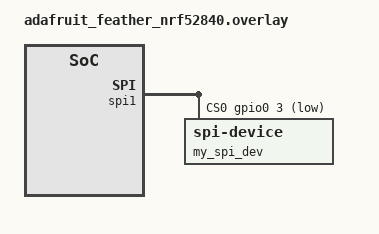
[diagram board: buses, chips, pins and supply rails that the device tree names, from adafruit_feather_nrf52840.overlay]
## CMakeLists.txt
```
# SPDX-License-Identifier: Apache-2.0

cmake_minimum_required(VERSION 3.20.0)
# add smartWatch board dir
list(APPEND BOARD_ROOT ${CMAKE_CURRENT_SOURCE_DIR}/../zephyr/)
find_package(Zephyr REQUIRED HINTS $ENV{ZEPHYR_BASE})
project(smartWatchApp)


target_sources(app PRIVATE
src/main.c
src/adc.c
src/gpio.c
src/mxc400.c
src/pca9957.c
src/pca9957_wrapper.c
)
```

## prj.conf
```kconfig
CONFIG_GPIO=y
CONFIG_ADC=y
CONFIG_I2C=y
CONFIG_SPI=y
CONFIG_LOG=y
CONFIG_PRINTK=y
```

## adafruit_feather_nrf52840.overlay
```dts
my_spi: &spi1 {
    compatible = "nordic,nrf-spi";
    status = "okay";
	pinctrl-0 = <&spi1_default>;
	pinctrl-1 = <&spi1_sleep>;
	cs-gpios = <&gpio0 3 GPIO_ACTIVE_LOW>;

	my_spi_dev: spi-device@0 {
		reg = <0>;
	};
};
```

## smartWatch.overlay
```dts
my_spi: &spi0 {
    compatible = "nordic,nrf-spi";
    status = "okay";
	pinctrl-0 = <&spi0_default>;
	pinctrl-1 = <&spi0_sleep>;
	cs-gpios = <&gpio0 12 GPIO_ACTIVE_LOW>;

	my_spi_dev: spi-device@0 {
		reg = <0>;
	};
};
```

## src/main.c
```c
#include "header.h"

LOG_MODULE_REGISTER(SmartWatchDemo, LOG_LEVEL);

// K_THREAD_DEFINE(thread_photo_id, 4096, thread_photo, NULL, NULL, NULL, 15, 0, 0);

struct k_timer my_timer;

void my_expiry_function(struct k_timer *timer_id)
{
	gpio_pin_toggle_dt(&led);
}

void toggle_led(void)
{
	//k_thread_suspend();
}

void timer_test(void)
{
	extern void my_expiry_function(struct k_timer *timer_id);
	k_timer_init(&my_timer, my_expiry_function, NULL);
	k_timer_start(&my_timer, K_MSEC(500), K_MSEC(500));
}

void main(void)
{
	int ret;
	LOG_DBG("SmartWatch demo project");

	ret = gpio_init();
	if(ret) { return; } // ret != 0
	pca9957_test();
	
	// mxc400_test();
	//timer_test();

	/* thread creation */
	// LSE clock / time handling
	// phototransistor
	// battery sense
	// status led
	// led driver (mutex for spi)
	// accelerometer (mutex for i2c)
	/* ISRs */
	// button 0, 1
	// accel intr



	//struct k_thread_t led_thread;
	//struct k_thread_stack_t led_thread_stack = K_THREAD_STACK_DEFINE("led_thread", 4096);
	//led_tid = k_thread_create(&led_thread, K_THREAD_STACK_DEFINE("led_thread", 4096), 4096, toggle_led, NULL, NULL, NULL, 5, NULL, K_NO_WAIT);

	while(1) {
		k_msleep(100);
	}
}
```

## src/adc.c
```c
#include "header.h"
#include "adc.h"

LOG_MODULE_DECLARE(SmartWatchDemo, LOG_LEVEL);

// adc definitions

const struct device *adc_dev = DEVICE_DT_GET(ADC_NODE);

int16_t adc_buf;

const struct adc_channel_cfg adc_cfg = {
	.gain = ADC_GAIN,
	.reference = ADC_REFERENCE,
	.acquisition_time = ADC_ACQ_TIME_DEFAULT,
	.channel_id = ADC_CHANNEL,
#ifdef CONFIG_ADC_NRFX_SAADC
	.input_positive = ADC_PORT
#endif
};

struct adc_sequence sequence = {
	.channels = BIT(ADC_CHANNEL),
	.buffer = &adc_buf,
	.buffer_size = sizeof(adc_buf),
	.resolution = ADC_RESOLUTION
};

void adc_test(void)
{
	int ret;
	if(!device_is_ready(adc_dev))
	{
		gpio_pin_set_dt(&led, 1);
		return;
	}
	
	ret = adc_channel_setup(adc_dev, &adc_cfg);
	if(ret != 0) {
		LOG_ERR("ADC not ready!\n");
		gpio_pin_set_dt(&led, 1);
		return;
	}

	while (1)
	{
		uint8_t pwm = 0;
		ret = adc_read(adc_dev, &sequence);
		if(ret) {
			LOG_ERR("failed reading ADC!\n");
			gpio_pin_set_dt(&led, 1);
			return;
		}
		// 10bit -> 8bit
		pwm = (adc_buf * 20) / 1023;

		gpio_pin_set_dt(&led, 1);
		k_msleep(pwm);
		gpio_pin_set_dt(&led, 0);
		k_msleep(20 - pwm);
	}
}
```

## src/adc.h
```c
#ifndef ADC_INCLUDED
#define ADC_INCLUDED

#include "header.h"
#include <zephyr/drivers/adc.h>

#define ADC_NODE		DT_NODELABEL(adc)

#define ADC_RESOLUTION	10
#define ADC_CHANNEL		0
#define ADC_PORT		SAADC_CH_PSELP_PSELP_AnalogInput6
#define ADC_REFERENCE	ADC_REF_INTERNAL
#define ADC_GAIN		ADC_GAIN_1_5

extern const struct device *adc_dev;

# endif // ADC_INCLUDED
```

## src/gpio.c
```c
#include "header.h"
#include "gpio.h"

const struct gpio_dt_spec led = GPIO_DT_SPEC_GET(LED0_NODE, gpios);
const struct gpio_dt_spec button0 = GPIO_DT_SPEC_GET(BTN0_NODE, gpios);
const struct gpio_dt_spec button1 = GPIO_DT_SPEC_GET(BTN1_NODE, gpios);

void thread_photo(void)
{
	while (1) {
		gpio_pin_toggle_dt(&led);
		k_msleep(500);
	}
}

uint8_t gpio_init(void)
{
    int ret = 0;
    if (!device_is_ready(led.port) ||
		!device_is_ready(button0.port) ||
		!device_is_ready(button1.port)) {
		return -1;
	}
	
	// configure led as output
	ret |= gpio_pin_configure_dt(&led, GPIO_OUTPUT_INACTIVE);

	// configure btn0 as input
	ret |= gpio_pin_configure_dt(&button0, GPIO_INPUT);
	
	// configure btn1 as input
	ret |= gpio_pin_configure_dt(&button1, GPIO_INPUT);

    return ret;
}
```

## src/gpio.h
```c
#ifndef GPIO_INCLUDED
#define GPIO_INCLUDED

#include "header.h"
#include <zephyr/drivers/gpio.h>

#define LED0_NODE		DT_NODELABEL(led0)
#define BTN0_NODE		DT_NODELABEL(btn0)
#define BTN1_NODE		DT_NODELABEL(btn1)
#define GYRO_INT_NODE	DT_NODELABEL(gyroint)

extern const struct gpio_dt_spec led;
extern const struct gpio_dt_spec button0;
extern const struct gpio_dt_spec button1;

uint8_t gpio_init(void);
void thread_photo(void);

#endif // GPIO_INCLUDED
```

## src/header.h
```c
/*
 * Copyright (c) 2016 Intel Corporation
 *
 * SPDX-License-Identifier: Apache-2.0
 */

#ifndef HEADER_INCLUDED
#define HEADER_INCLUDED


#include <inttypes.h>
#include <stddef.h>
#include <stdint.h>

#include <zephyr/kernel.h>
#include <zephyr/device.h>
#include <zephyr/sys_clock.h>
#include <zephyr/devicetree.h>
#include <zephyr/sys/printk.h>
#include <zephyr/logging/log.h>

#include "adc.h"
#include "gpio.h"
#include "mxc400.h"
#include "pca9957.h"
#include "pca9957_wrapper.h"

#define LOG_LEVEL	            LOG_LEVEL_DBG

#define ERR_DEVICE_NOT_READY      BIT(1)

#endif // HEADER_INCLUDED
```

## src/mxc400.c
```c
#include "header.h"
#include "mxc400.h"

LOG_MODULE_DECLARE(SmartWatchDemo, LOG_LEVEL);

const struct device *i2c_dev = DEVICE_DT_GET(I2C_NODE);
const struct gpio_dt_spec mxc400_int = GPIO_DT_SPEC_GET(GYRO_INT_NODE, gpios);

int mxc400_init(void)
{
	int ret;
	if (!device_is_ready(mxc400_int.port)) {
		gpio_pin_set_dt(&led, 1);
		return -1;
	}
	// configure mxc400_int as input
	ret = gpio_pin_configure_dt(&mxc400_int, GPIO_INPUT);
	if (ret < 0)
	{
		gpio_pin_set_dt(&led, 1);
	}
	return ret;
}

void mxc400_test(void)
{
	LOG_DBG("i2c started");
	int ret;
	uint8_t buf[2];

	if(0 != mxc400_init())
	{
		return;
	}

	if (!device_is_ready(i2c_dev))
	{
		LOG_ERR("I2C not ready!\n");
		gpio_pin_set_dt(&led, 1);
		return;
	}

	// interface with register 0x0A
	buf[0] = 0x0A;
	// set SHXPE (shake x+ enable) bit
	buf[1] = 0x0F;
	ret = i2c_write(i2c_dev, buf, 2, MXC400_ADDRESS);
	if(ret != 0)
	{
		LOG_ERR("Error writing to I2C device\n");
		gpio_pin_set_dt(&led, 1);
		return;
	}

	while(1)
	{
		if(gpio_pin_get_dt(&mxc400_int) == 1)
		{
			gpio_pin_toggle_dt(&led);

			// interrupt pin state reflects
			// state of INT bit in STATUS reg
			// clear by setting INT_CLRx
			
			// interface with register 0x00
			buf[0] = 0x00;
			// set SHXP (shake x+ enable) bit
			buf[1] = 0x0F;
			ret = i2c_write(i2c_dev, buf, 2, MXC400_ADDRESS);
			if(ret != 0)
			{
				LOG_ERR("Error clearing I2C interrupt\n");
				gpio_pin_set_dt(&led, 1);
				return;
			}
			LOG_DBG("shake detected");
		}
		k_msleep(100);
	}

}

/*
reading device ID:

buf = 0x0E;
	ret = i2c_write(i2c_dev, &buf, 1, I2C_ADDRESS);
	if(ret != 0)
	{
		LOG_ERR("Error writing to I2C device\n");
		gpio_pin_set_dt(&led, 1);
		return;
	}

	ret = i2c_read(i2c_dev, &buf, 1, I2C_ADDRESS);
	if(ret != 0)
	{
		LOG_ERR("Error reading from I2C device\n");
		gpio_pin_set_dt(&led, 1);
		return;
	}

	if(buf != 0x02)
	{
		gpio_pin_set_dt(&led, 1);
		return;
	}

*/
```

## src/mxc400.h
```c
#ifndef MX400_INCLUDED
#define MX400_INCLUDED

#include "header.h"
#include <zephyr/drivers/i2c.h>
#include <zephyr/drivers/gpio.h>

#define I2C_NODE            DT_NODELABEL(i2c0)
#define MXC400_ADDRESS      0x15

// register definition

#define MXC400_INT_SRC0         0x00
#define MXC400_INT_SRC1         0x01
#define MXC400_STATUS           0x02
#define MXC400_XOUT_UPPER       0x03
#define MXC400_XOUT_LOWER       0x04
#define MXC400_YOUT_UPPER       0x05
#define MXC400_YOUT_LOWER       0x06
#define MXC400_ZOUT_UPPER       0x07
#define MXC400_ZOUT_LOWER       0x08
#define MXC400_TOUT             0x09
#define MXC400_INT_MASK0        0x0A
#define MXC400_INT_MASK1        0x0B
#define MXC400_DETECTION        0x0C
#define MXC400_CONTROL          0x0D
#define MXC400_DEVICE_ID        0x0E
#define MXC400_WHO_AM_I         0x0F

// bit definition

// register INT SRC0 bit definitions
#define MXC400_INT_SRC0_SHXP    BIT(0)
#define MXC400_INT_SRC0_SHXM    BIT(1)
#define MXC400_INT_SRC0_SHYP    BIT(2)
#define MXC400_INT_SRC0_SHYM    BIT(3)
#define MXC400_INT_SRC0_CHORXY  BIT(6)
#define MXC400_INT_SRC0_CHORZ   BIT(7)

// register INT SRC1 bit definitions
#define MXC400_INT_SRC1_DRDY    BIT(0)
#define MXC400_INT_SRC1_ORXY0   BIT(4)
#define MXC400_INT_SRC1_ORXY1   BIT(5)
#define MXC400_INT_SRC1_ORZ     BIT(6)
#define MXC400_INT_SRC1_TILT    BIT(7)

#define MXC400_INT_SRC1_SW_RST  BIT(4)

// register STATUS bit definitions
#define MXC400_STATUS_ORIXY0    BIT(0)
#define MXC400_STATUS_ORIXY1    BIT(1)
#define MXC400_STATUS_ORIZ0     BIT(2)
#define MXC400_STATUS_ORIZ1     BIT(3)
#define MXC400_STATUS_ORD       BIT(4)

// register XOUT_UPPER bit definitions
#define MXC400_XOUT_UPPER_11_4

// register XOUT_LOWER bit definitions
#define MXC400_XOUT_LOWER_11_4

// register YOUT_UPPER bit definitions
#define MXC400_YOUT_UPPER_11_4

// register YOUT_LOWER bit definitions
#define MXC400_YOUT_LOWER_11_4

// register ZOUT_UPPER bit definitions
#define MXC400_ZOUT_UPPER_11_4

// register ZOUT_LOWER bit definitions
#define MXC400_ZOUT_LOWER_11_4

// register TOUT bit definitions
// register INT_MASK0 bit definitions
// register INT_MASK1 bit definitions
// register DETECTION bit definitions
// register CONTROL bit definitions

// interrupt flags

#define MXC400_INTFLAG_SHXP     (1 << 0)
#define MXC400_INTFLAG_SHXM     (1 << 1)
#define MXC400_INTFLAG_SHYP     (1 << 2)
#define MXC400_INTFLAG_SHYM     (1 << 3)
#define MXC400_INTFLAG_CHORXY   (1 << 6)
#define MXC400_INTFLAG_CHORZ    (1 << 7)
#define MXC400_INTFLAG_DRDY     (1 << 8)

extern const struct gpio_dt_spec mxc400_int;
extern const struct device *i2c_dev;

void mxc400_test(void);

#endif // MX400_INCLUDED
```

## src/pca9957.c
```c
#include "header.h"

LOG_MODULE_DECLARE(SmartWatchDemo, LOG_LEVEL);

const struct device *pca9957_dev = DEVICE_DT_GET(SPI_NODE);

/**
 * @brief initializes PCA9957 spi led driver.
 * 	sets all led channels to inactive
 * 
 * @retval 0 If successful.
 * @retval -errno Negative errno code on failure.
 */
int pca9957_init() {
	int ret = 0;
	if(!device_is_ready(pca9957_dev)) {
		return ERR_DEVICE_NOT_READY;
	}
	// set current, pwm, led-mode
	ret |= pca9957_set_led_mode(PCA9957_LEDS_MSK, PCA9957_LEDMODE_OFF);
	ret |= pca9957_set_led_current(PCA9957_LEDS_MSK, 0x01);
	ret |= pca9957_set_led_pwm(PCA9957_LEDS_MSK, 0x05);
	return ret;
}

int pca9957_test(void)
{
	int m, h, ret;

	ret = pca9957_init();

	m = 12;
	h = 0;
	while(!ret) {
		ret |= pca9957_set_led_mode(PCA9957_LEDS_MSK, PCA9957_LEDMODE_OFF);

		ret |= pca9957_set_led_pwm(HOUR(h) | MINUTE(m), 0x50);
		ret |= pca9957_set_led_pwm(HOUR(h-1) | HOUR(h+1) | MINUTE(m-1) | MINUTE(m+1), 0x02);
		ret |= pca9957_set_led_mode(HOUR(h) | MINUTE(m), PCA9957_LEDMODE_PWM);
		ret |= pca9957_set_led_mode(HOUR(h-1) | HOUR(h+1) | MINUTE(m-1) | MINUTE(m+1), PCA9957_LEDMODE_PWM);
		h++;
		m--;
		if(h == PCA9957_NUM_LEDS/2) {
			m = 12;
			h = 0;
		}
		k_msleep(100);
	}

	return ret;
}
```

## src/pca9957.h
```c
#ifndef PCA9957_INCLUDED
#define PCA9957_INCLUDED

#include "header.h"
#include <zephyr/drivers/spi.h>

#define SPI_NODE        DT_NODELABEL(spi0)

extern const struct device *pca9957_dev;

// hardware defined offset
// (0 o'clock leds not routed to LED(0) & LED(1))
#define HOUR(n)         PCA9957_LED(2*(n + 10))
#define MINUTE(n)       PCA9957_LED((2*(n + 10) + 1))

int pca9957_test(void);
int pca9957_init(void);

#endif // PCA9957_INCLUDED
```

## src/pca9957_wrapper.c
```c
#include "pca9957.h"

LOG_MODULE_DECLARE(SmartWatchDemo, LOG_LEVEL);

// SPI struct definitions

static uint8_t my_spi_buf[2];

static struct spi_config config = {
	.frequency = 1000000,
	.operation = SPI_OP_MODE_MASTER | SPI_TRANSFER_MSB | SPI_WORD_SET(8),
	.cs = SPI_CS_CONTROL_PTR_DT(DT_NODELABEL(pca9957), 0),
};

static struct spi_buf spi_buffer = {
	.buf = my_spi_buf,
	.len = 2 * sizeof(my_spi_buf[0])
};
static struct spi_buf_set spi_buffers = {
	.buffers = &spi_buffer,
	.count = 1
};

static uint8_t led_mode[PCA9957_NUM_LEDOUT_REGS] = {0};
static uint8_t led_pwm[PCA9957_NUM_LEDS] = {0};

/**
 * @brief set pca9957 low-power mode
 * 
 * @note make sure group dimming/blinking is disabled before entering
 * low-power mode, otherwise the state of the led channels after exiting
 * low-power mode again will result in an undefined behaviour.
 * 
 * @param low_power either PCA9957_LOW_POWER_EN or PCA9957_LOW_POWER_DIS
 * 
 * @retval 0 If successful.
 * @retval -errno Negative errno code on failure.
 */
int pca9957_set_power_mode(uint8_t low_power) {
	return pca9957_write(PCA9957_MODE1, low_power << PCA9957_MODE1_SLEEP);
}

/**
 * @brief get pca9957s current low-power mode
 * 
 * @param low_power either PCA9957_LOW_POWER_EN or PCA9957_LOW_POWER_DIS
 * 
 * @retval 0 If successful.
 * @retval -errno Negative errno code on failure.
 */
int pca9957_get_power_mode(uint8_t *low_power) {
	int ret = pca9957_read(PCA9957_MODE1, low_power);
	*low_power = *low_power >> PCA9957_MODE1_SLEEP;
	return ret;
}

/**
 * @brief get the content of pca9957 mode2 register
 * 
 * @param status buffer where mode2 register content will be written to
 * 
 * @retval 0 If successful.
 * @retval -errno Negative errno code on failure.
 */
int pca9957_get_status(uint8_t *status) {
	return pca9957_read(PCA9957_MODE2, status);
}

/**
 * @brief pca9957 error checker
 * 
 * @param status buffer to write error register content to
 * 
 * @retval 0 If successful.
 * @retval -errno Negative errno code on failure.
 */
int pca9957_check_error(uint8_t *error) {
	int ret;
	ret = pca9957_get_status(error);
	*error = *error & (PCA9957_MODE2_OVERTEMP & PCA9957_MODE2_ERROR);
	return ret;
}

/**
 * @brief sets output mode for the chosen led channels
 *
 * @param leds selected LEDs; use PCA9957_LED(n) to choose a selection
 * or PCA9957_LEDS_MSK to select all channels
 * @param mode one of the following: 
 * PCA9957_LEDMODE_OFF: turn led(s) off
 * PCA9957_LEDMODE_ON: turn led(s) fully on
 * PCA9957_LEDMODE_PWM: enable PWM mode
 * PCA9957_LEDMODE_GROUP: enable group dimming/blinking
 * 
 * @retval 0 If successful.
 * @retval -errno Negative errno code on failure.
 * 
 * @note when selecting either PCA9957_LEDMODE_PWM or PCA9957_LEDMODE_GROUP make
 * sure pca9957_set_led_pwm or pca9957_set_group_mode is configured in advance
 */
int pca9957_set_led_mode(uint32_t leds, uint8_t mode) {
	int i, ret = 0;
	volatile uint8_t mask, new_mode = 0x00;
	i = 0;
	while(i < PCA9957_NUM_LEDS && !ret) {
		if(leds & PCA9957_LED(i))
		{
			// change led i mode
			new_mode |= mode << PCA9957_LEDMODE_POS(i);
		}
		else
		{
			// keep previous mode for led i
			mask = PCA9957_LEDMODE_MSK << PCA9957_LEDMODE_POS(i);
			new_mode |= (led_mode[PCA9957_LEDOUT_REG(i)] & mask);
		}
		if(PCA9957_LEDMODE_POS((i+1)) == 0 && i > 0)
		{
			// write new_mode to pca9957
			ret = pca9957_write(PCA9957_LEDOUT(PCA9957_LEDOUT_REG(i)), new_mode);
			led_mode[PCA9957_LEDOUT_REG(i)] = new_mode;
			new_mode = 0x00;
		}
		i++;
	}
	return ret;
}

/**
 * @brief sets the pwm duty cycle for the chosen led channels
 *
 * @param leds selected LEDs; use PCA9957_LED(n) to choose a selection
 * or PCA9957_LEDS_MSK to select all channels
 * @param pwm 8-bit pwm duty cycle (0x00 - 0xFF)
 * 
 * @retval 0 If successful.
 * @retval -errno Negative errno code on failure.
 */
int pca9957_set_led_pwm(uint32_t leds, uint8_t pwm) {
	int i, ret = 0;
	if(leds == PCA9957_LEDS_MSK) {
	return pca9957_write(PCA9957_PWMALL, pwm);
	}
	i = 0;
	while(i < PCA9957_NUM_LEDS && !ret) {
		if(leds & PCA9957_LED(i)) {
			if(led_pwm[i] != pwm) {
				ret |= pca9957_write(PCA9957_PWM(i), pwm);
				led_pwm[i] = pwm;
			}
		}
		i++;
	}
	return ret;
}

/**
 * @brief sets the max output current for each led channels
 *
 * @param leds selected LEDs; use PCA9957_LED(n) to choose a selection
 * or PCA9957_LEDS_MSK to select all channels
 * @param pwm 8-bit current setting (0x00 - 0xFF)
 * 
 * @retval 0 If successful.
 * @retval -errno Negative errno code on failure.
 */
int pca9957_set_led_current(uint32_t leds, uint8_t current) {
	int i, ret = 0;
	if(leds == PCA9957_LEDS_MSK) {
	return pca9957_write(PCA9957_IREFALL, current);
	}
	i = 0;
	while(i < PCA9957_NUM_LEDS && !ret) {
		if(leds & PCA9957_LED(i)) {
			ret |= pca9957_write(PCA9957_IREF(i), current);
		}
		i++;
	}
	return ret;
}

/**
 * @brief writes one byte to the specified register
 * 
 * @param reg 7-bit register address to be written to
 * @param tx_buf buffer where data to be written is stored
 *
 * @retval 0 If successful.
 * @retval -errno Negative errno code on failure.
 */
int pca9957_write(uint8_t reg, uint8_t tx_buf) {
	// ********** SPI WRITING **********
	// send first 7 bit with register address MSB
	// LSB reset to write from device
	my_spi_buf[0] = (reg << 1) & 0xFE;
	my_spi_buf[1] = tx_buf;

	return spi_write(pca9957_dev, &config, &spi_buffers);
}

/**
 * @brief Read one byte from the specified register
 *
 * @param addr 7-bit register address to be read from
 * @param rx_buf buffer where data to be read will be written to
 *
 * @retval 0 If successful.
 * @retval -errno Negative errno code on failure.
 */
int pca9957_read(uint8_t reg, uint8_t *rx_buf) {
	// ********** SPI READING **********
	// send first 7 bit with register address MSB
	// LSB set to read from device
	//reg_addr = 0x08;
	int ret;
	my_spi_buf[0] = (reg << 1) | 0x01;
	my_spi_buf[1] = 0xFF;

	ret = spi_write(pca9957_dev, &config, &spi_buffers);

	ret |= spi_read(pca9957_dev, &config, &spi_buffers);
	*rx_buf = my_spi_buf[1];
    return ret;
}
```

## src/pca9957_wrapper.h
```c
#include "pca9957.h"

#ifndef PCA9957_WRAPPER_INCLUDED
#define PCA9957_WRAPPER_INCLUDED

// register definition

#define PCA9957_MODE_BASE           0x00
#define PCA9957_EFLAG_BASE          0x02
#define PCA9957_LEDOUT_BASE         0x08
#define PCA9957_PWM_BASE            0x10
#define PCA9957_IREF_BASE           0x28


// MODE1 register
#define PCA9957_MODE1               PCA9957_MODE_BASE
// MODE1 bit definitios
#define PCA9957_MODE1_SLEEP         BIT(4)
#define PCA9957_LOW_POWER_EN        0x01
#define PCA9957_LOW_POWER_DIS       0x00


// MODE2 register
#define PCA9957_MODE2               PCA9957_MODE_BASE + 0x01
// MODE2 bit definitions
#define PCA9957_MODE2_OVERTEMP              BIT(7)
#define PCA9957_MODE2_ERROR                 BIT(6)
#define PCA9957_MODE2_DMBLK                 BIT(5)
#define PCA9957 MODE2_CLRERR                BIT(4)
#define PCA9957_MODE2_AUTO_SWITCHOFF_DIS    BIT(3)
#define PCA9957_MODE2_EXP_EN                BIT(2)


#define PCA9957_EFLAG0              PCA9957_EFLAG_BASE
#define PCA9957_EFLAG1              PCA9957_EFLAG_BASE + 0x01
#define PCA9957_EFLAG2              PCA9957_EFLAG_BASE + 0x02
#define PCA9957_EFLAG3              PCA9957_EFLAG_BASE + 0x03
#define PCA9957_EFLAG4              PCA9957_EFLAG_BASE + 0x04
#define PCA9957_EFLAG5              PCA9957_EFLAG_BASE + 0x05
#define PCA9957_EFLAG(n)            PCA9957_EFLAG_BASE + (n % 0x06)


// LEDOUT registers
#define PCA9957_LEDOUT0             PCA9957_LEDOUT_BASE
#define PCA9957_LEDOUT1             PCA9957_LEDOUT_BASE + 0x01
#define PCA9957_LEDOUT2             PCA9957_LEDOUT_BASE + 0x02
#define PCA9957_LEDOUT3             PCA9957_LEDOUT_BASE + 0x03
#define PCA9957_LEDOUT4             PCA9957_LEDOUT_BASE + 0x04
#define PCA9957_LEDOUT5             PCA9957_LEDOUT_BASE + 0x05
#define PCA9957_LEDOUT(n)           PCA9957_LEDOUT_BASE + (n % 0x06)
// LEDOUT bit definitions
#define PCA9957_LEDMODE_OFF         0x00
#define PCA9957_LEDMODE_ON          0x01
#define PCA9957_LEDMODE_PWM         0x02
#define PCA9957_LEDMODE_GROUP       0x03
// wrapper definitions
#define PCA9957_NUM_LEDOUT_REGS     6
#define PCA9957_LEDOUT_REGSIZE      8
#define PCA9957_LEDOUT_REG(n)       (int)(PCA9957_LEDMODE_SIZE * n / PCA9957_LEDOUT_REGSIZE)
#define PCA9957_LEDMODE_SIZE        2
#define PCA9957_LEDMODE_POS(n)      (PCA9957_LEDMODE_SIZE * n) % PCA9957_LEDOUT_REGSIZE
#define PCA9957_LEDMODE_MSK         0x03

#define PCA9957_NUM_LEDS            24
#define PCA9957_LED(n)              BIT((n % PCA9957_NUM_LEDS))
#define PCA9957_LEDS_MSK            0xFFFFFF


#define PCA9957_PWM0                PCA9957_PWM_BASE
#define PCA9957_PWM1                PCA9957_PWM_BASE + 0x01
#define PCA9957_PWM2                PCA9957_PWM_BASE + 0x02
#define PCA9957_PWM3                PCA9957_PWM_BASE + 0x03
#define PCA9957_PWM4                PCA9957_PWM_BASE + 0x04
#define PCA9957_PWM5                PCA9957_PWM_BASE + 0x05
#define PCA9957_PWM6                PCA9957_PWM_BASE + 0x06
#define PCA9957_PWM7                PCA9957_PWM_BASE + 0x07
#define PCA9957_PWM8                PCA9957_PWM_BASE + 0x08
#define PCA9957_PWM9                PCA9957_PWM_BASE + 0x09
#define PCA9957_PWM10               PCA9957_PWM_BASE + 0x0A
#define PCA9957_PWM11               PCA9957_PWM_BASE + 0x0B
#define PCA9957_PWM12               PCA9957_PWM_BASE + 0x0C
#define PCA9957_PWM13               PCA9957_PWM_BASE + 0x0D
#define PCA9957_PWM14               PCA9957_PWM_BASE + 0x0E
#define PCA9957_PWM15               PCA9957_PWM_BASE + 0x0F
#define PCA9957_PWM16               PCA9957_PWM_BASE + 0x10
#define PCA9957_PWM17               PCA9957_PWM_BASE + 0x11
#define PCA9957_PWM18               PCA9957_PWM_BASE + 0x12
#define PCA9957_PWM19               PCA9957_PWM_BASE + 0x13
#define PCA9957_PWM20               PCA9957_PWM_BASE + 0x14
#define PCA9957_PWM21               PCA9957_PWM_BASE + 0x15
#define PCA9957_PWM22               PCA9957_PWM_BASE + 0x16
#define PCA9957_PWM23               PCA9957_PWM_BASE + 0x17
#define PCA9957_PWM(n)              PCA9957_PWM_BASE + (n % 0x18)


#define PCA9957_IREF0               PCA9957_IREF_BASE
#define PCA9957_IREF1               PCA9957_IREF_BASE + 0x01
#define PCA9957_IREF2               PCA9957_IREF_BASE + 0x02
#define PCA9957_IREF3               PCA9957_IREF_BASE + 0x03
#define PCA9957_IREF4               PCA9957_IREF_BASE + 0x04
#define PCA9957_IREF5               PCA9957_IREF_BASE + 0x05
#define PCA9957_IREF6               PCA9957_IREF_BASE + 0x06
#define PCA9957_IREF7               PCA9957_IREF_BASE + 0x07
#define PCA9957_IREF8               PCA9957_IREF_BASE + 0x08
#define PCA9957_IREF9               PCA9957_IREF_BASE + 0x09
#define PCA9957_IREF10              PCA9957_IREF_BASE + 0x0A
#define PCA9957_IREF11              PCA9957_IREF_BASE + 0x0B
#define PCA9957_IREF12              PCA9957_IREF_BASE + 0x0C
#define PCA9957_IREF13              PCA9957_IREF_BASE + 0x0D
#define PCA9957_IREF14              PCA9957_IREF_BASE + 0x0E
#define PCA9957_IREF15              PCA9957_IREF_BASE + 0x0F
#define PCA9957_IREF16              PCA9957_IREF_BASE + 0x10
#define PCA9957_IREF17              PCA9957_IREF_BASE + 0x11
#define PCA9957_IREF18              PCA9957_IREF_BASE + 0x12
#define PCA9957_IREF19              PCA9957_IREF_BASE + 0x13
#define PCA9957_IREF20              PCA9957_IREF_BASE + 0x14
#define PCA9957_IREF21              PCA9957_IREF_BASE + 0x15
#define PCA9957_IREF22              PCA9957_IREF_BASE + 0x16
#define PCA9957_IREF23              PCA9957_IREF_BASE + 0x17
#define PCA9957_IREF(n)             PCA9957_IREF_BASE + (n % 0x18)


#define PCA9957_RAMP_RATE_GRP0      0x40
#define PCA9957_STEP_TIME_GRP0      0x41
#define PCA9957_HOLD_CNTL_GRP0      0x42
#define PCA9957_IREF_GRP0           0x43

#define PCA9957_RAMP_RATE_GRP1      0x44
#define PCA9957_STEP_TIME_GRP1      0x45
#define PCA9957_HOLD_CNTL_GRP1      0x46
#define PCA9957_IREF_GRP1           0x47

#define PCA9957_RAMP_RATE_GRP2      0x48
#define PCA9957_STEP_TIME_GRP2      0x49
#define PCA9957_HOLD_CNTL_GRP2      0x4A
#define PCA9957_IREF_GRP2           0x4B

#define PCA9957_RAMP_RATE_GRP3      0x4C
#define PCA9957_STEP_TIME_GRP3      0x4D
#define PCA9957_HOLD_CNTL_GRP3      0x4E
#define PCA9957_IREF_GRP3           0x4F

#define PCA9957_RAMP_RATE_GRP4      0x50
#define PCA9957_STEP_TIME_GRP4      0x51
#define PCA9957_HOLD_CNTL_GRP4      0x52
#define PCA9957_IREF_GRP4           0x53

#define PCA9957_RAMP_RATE_GRP5      0x54
#define PCA9957_STEP_TIME_GRP5      0x55
#define PCA9957_HOLD_CNTL_GRP5      0x56
#define PCA9957_IREF_GRP5           0x57


#define PCA9957_GRAD_MODE_SEL0      0x58
#define PCA9957_GRAD_MODE_SEL1      0x59
#define PCA9957_GRAD_MODE_SEL2      0x5A

#define PCA9957_GRAD_GRP_SEL0       0x5B
#define PCA9957_GRAD_GRP_SEL1       0x5B
#define PCA9957_GRAD_GRP_SEL2       0x5B
#define PCA9957_GRAD_GRP_SEL3       0x5B
#define PCA9957_GRAD_GRP_SEL4       0x5B
#define PCA9957_GRAD_GRP_SEL5       0x60
#define PCA9957_GRAD_GRP_SEL6       0x61
#define PCA9957_GRAD_GRP_SEL7       0x62
#define PCA9957_GRAD_GRP_SEL8       0x63
#define PCA9957_GRAD_GRP_SEL9       0x64
#define PCA9957_GRAD_GRP_SEL10      0x65
#define PCA9957_GRAD_GRP_SEL11      0x66

#define PCA9957_GRAD_CNTL0          0x67
#define PCA9957_GRAD_CNTL1          0x68


#define PCA9957_OFFSET              0x69
#define PCA9957_PWMALL              0x6A
#define PCA9957_IREFALL             0x6B


// ERROR definitions
#define ERR_PCA9957COMMON           BIT(1)

// Prototype definitions

int pca9957_set_power_mode(uint8_t low_power);
int pca9957_get_power_mode(uint8_t *low_power);
int pca9957_get_status(uint8_t *status);
int pca9957_check_error(uint8_t *error);
int pca9957_set_led_mode(uint32_t leds, uint8_t mode);
int pca9957_set_led_pwm(uint32_t leds, uint8_t pwm);
int pca9957_set_led_current(uint32_t leds, uint8_t current);

int pca9957_write(uint8_t reg, uint8_t tx_buf);
int pca9957_read(uint8_t reg, uint8_t *rx_buf);

#endif// PCA9957_WRAPPER_INCLUDED
```
